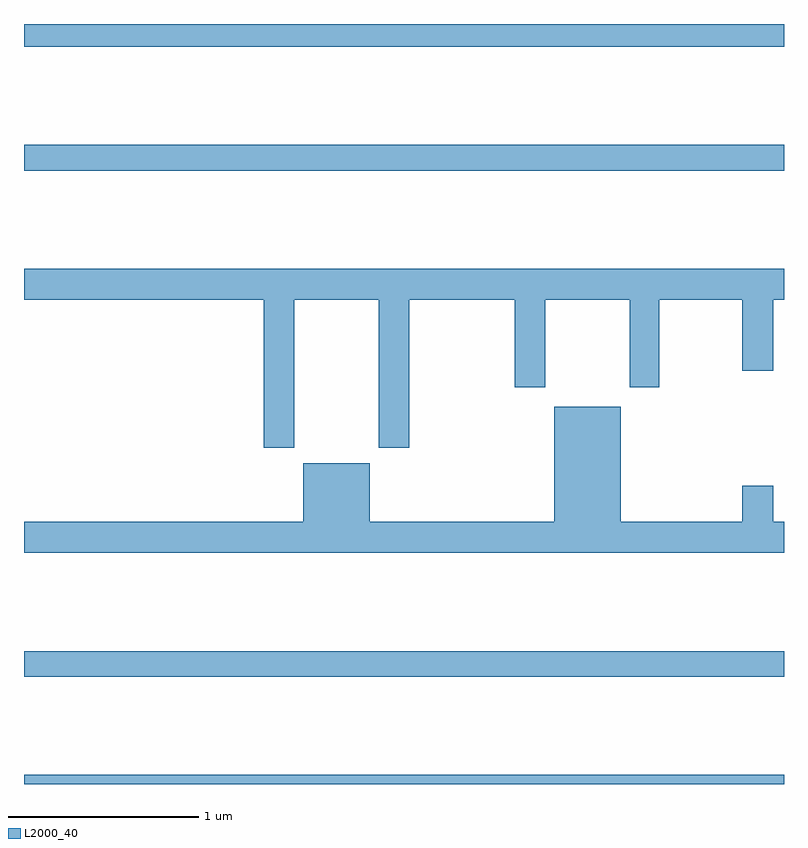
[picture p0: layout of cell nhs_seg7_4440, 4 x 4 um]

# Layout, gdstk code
import gdstk
lib = gdstk.Library(unit=1e-6, precision=1e-09)
def R(c, l, rs):  # rectangles x0, y0, x1, y1
    for r in rs: c.add(gdstk.rectangle(r[:2], r[2:], *l))
def P(c, l, *ps):  # polygons
    for p in ps: c.add(gdstk.Polygon(p, *l))
L2000_40 = (2000, 40)

nhs_seg7_4440 = lib.new_cell('nhs_seg7_4440')
R(nhs_seg7_4440, L2000_40, [(389,1066,393,1066.048), (389,1066.564,393,1066.7), (389,1069.228,393,1069.364), (389,1069.88,393,1070)])
P(nhs_seg7_4440, L2000_40, [(390.423,1068.548),(390.868,1068.548),(390.868,1067.769),(391.028,1067.769),(391.028,1068.548),(391.583,1068.548),(391.583,1068.087),(391.743,1068.087),(391.743,1068.548),(392.188,1068.548),(392.188,1068.087),(392.343,1068.087),(392.343,1068.548),(392.78,1068.548),(392.78,1068.174),(392.944,1068.174),(392.944,1068.548),(393,1068.548),(393,1068.712),(389,1068.712),(389,1068.548),(390.263,1068.548),(390.263,1067.769),(390.423,1067.769)],
  [(393,1067.38),(392.944,1067.38),(392.944,1067.569),(392.78,1067.569),(392.78,1067.38),(392.14,1067.38),(392.14,1067.986),(391.79,1067.986),(391.79,1067.38),(390.82,1067.38),(390.82,1067.689),(390.47,1067.689),(390.47,1067.38),(389,1067.38),(389,1067.216),(393,1067.216)])

lib.write_gds('nhs_seg7_4440.gds')
